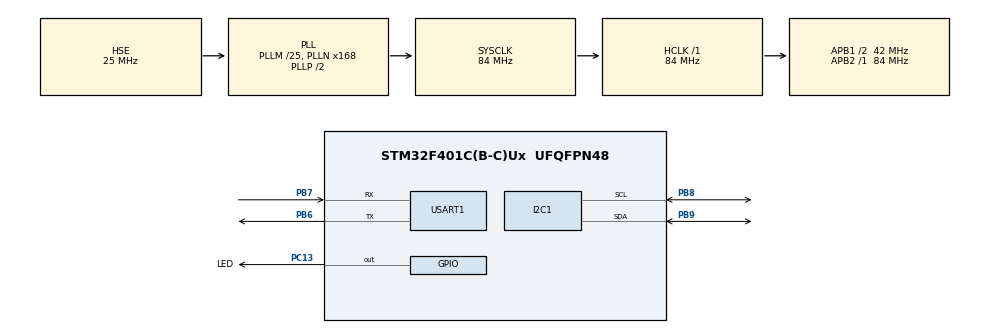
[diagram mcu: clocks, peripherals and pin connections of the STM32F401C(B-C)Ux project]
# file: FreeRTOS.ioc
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FREERTOS.Mutexes01=muxTextBuf,Dynamic,NULL;muxBaro,Dynamic,NULL
FREERTOS.Tasks01=taskBTempProd,24,256,StarTaskBTempProd,Default,NULL,Dynamic,NULL,NULL;taskBPresProd,8,256,StartTaskBPresProd,Default,NULL,Dynamic,NULL,NULL;taskUARTCons,8,256,StartTaskUARTCons,Default,NULL,Dynamic,NULL,NULL
FREERTOS.configTICK_RATE_HZ=1000
FREERTOS.configUSE_NEWLIB_REENTRANT=1
I2C1.I2C_Mode=I2C_Standard
Mcu.Family=STM32F4
Mcu.Name=STM32F401C(B-C)Ux
Mcu.Package=UFQFPN48
NVIC.PriorityGroup=NVIC_PRIORITYGROUP_4
PB6.Mode=Asynchronous
PB6.Signal=USART1_TX
PB7.Mode=Asynchronous
PB7.Signal=USART1_RX
PB8.GPIO_Pu=GPIO_PULLUP
PB8.Mode=I2C
PB8.Signal=I2C1_SCL
PB9.GPIO_Pu=GPIO_PULLUP
PB9.Mode=I2C
PB9.Signal=I2C1_SDA
PC13-ANTI_TAMP.GPIO_Label=LED
PC13-ANTI_TAMP.Signal=GPIO_Output
PH0\ -\ OSC_IN.Mode=HSE-External-Oscillator
PH0\ -\ OSC_IN.Signal=RCC_OSC_IN
PH1\ -\ OSC_OUT.Mode=HSE-External-Oscillator
PH1\ -\ OSC_OUT.Signal=RCC_OSC_OUT
ProjectManager.HeapSize=0x200
ProjectManager.StackSize=0x400
ProjectManager.TargetToolchain=STM32CubeIDE
RCC.48MHZClocksFreq_Value=42000000
RCC.AHBFreq_Value=84000000
RCC.APB1CLKDivider=RCC_HCLK_DIV2
RCC.APB1Freq_Value=42000000
RCC.APB1TimFreq_Value=84000000
RCC.APB2Freq_Value=84000000
RCC.APB2TimFreq_Value=84000000
RCC.CortexFreq_Value=84000000
RCC.HCLKFreq_Value=84000000
RCC.HSE_VALUE=25000000
RCC.HSI_VALUE=16000000
RCC.LSE_VALUE=32768
RCC.PLLM=25
RCC.PLLN=168
RCC.PLLSourceVirtual=RCC_PLLSOURCE_HSE
RCC.SYSCLKFreq_VALUE=84000000
RCC.SYSCLKSource=RCC_SYSCLKSOURCE_PLLCLK
RCC.VCOOutputFreq_Value=168000000
USART1.VirtualMode=VM_ASYNC
VP_FREERTOS_VS_CMSIS_V2.Mode=CMSIS_V2
board=custom

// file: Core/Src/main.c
/* USER CODE BEGIN Header */
/**
  ******************************************************************************
  * @file           : main.c
  * @brief          : Main program body
  ******************************************************************************
  * @attention
  *
  * Copyright (c) 2022 STMicroelectronics.
  * All rights reserved.
  *
  * This software is licensed under terms that can be found in the LICENSE file
  * in the root directory of this software component.
  * If no LICENSE file comes with this software, it is provided AS-IS.
  *
  ******************************************************************************
  */
/* USER CODE END Header */
#include "main.h"
#include "cmsis_os.h"

/* USER CODE BEGIN Includes */
#include <stdio.h>
#include <string.h>
#include <malloc.h>
#include "queue.h"
#include "baro.h"

/* USER CODE END Includes */

/* USER CODE BEGIN PD */
#define DATA_QLEN 8

/* USER CODE END PD */

/* USER CODE BEGIN PM */
#define countof(_a) (sizeof(_a) / sizeof(_a[0]))

/* USER CODE END PM */

I2C_HandleTypeDef hi2c1;

UART_HandleTypeDef huart1;

/* Definitions for taskBTempProd */
osThreadId_t taskBTempProdHandle;
const osThreadAttr_t taskBTempProd_attributes = {
  .name = "taskBTempProd",
  .stack_size = 256 * 4,
  .priority = (osPriority_t) osPriorityNormal,
};
/* Definitions for taskBPresProd */
osThreadId_t taskBPresProdHandle;
const osThreadAttr_t taskBPresProd_attributes = {
  .name = "taskBPresProd",
  .stack_size = 256 * 4,
  .priority = (osPriority_t) osPriorityLow,
};
/* Definitions for taskUARTCons */
osThreadId_t taskUARTConsHandle;
const osThreadAttr_t taskUARTCons_attributes = {
  .name = "taskUARTCons",
  .stack_size = 256 * 4,
  .priority = (osPriority_t) osPriorityLow,
};
/* Definitions for muxTextBuf */
osMutexId_t muxTextBufHandle;
const osMutexAttr_t muxTextBuf_attributes = {
  .name = "muxTextBuf"
};
/* Definitions for muxBaro */
osMutexId_t muxBaroHandle;
const osMutexAttr_t muxBaro_attributes = {
  .name = "muxBaro"
};
/* USER CODE BEGIN PV */
static QueueHandle_t data_queue;

static char text[100];

/* USER CODE END PV */

void SystemClock_Config(void);
static void MX_GPIO_Init(void);
static void MX_USART1_UART_Init(void);
static void MX_I2C1_Init(void);
void StarTaskBTempProd(void *argument);
void StartTaskBPresProd(void *argument);
void StartTaskUARTCons(void *argument);

int main(void)
{

  /* MCU Configuration--------------------------------------------------------*/

  /* Reset of all peripherals, Initializes the Flash interface and the Systick. */
  HAL_Init();

  /* Configure the system clock */
  SystemClock_Config();

  /* Initialize all configured peripherals */
  MX_GPIO_Init();
  MX_USART1_UART_Init();
  MX_I2C1_Init();
  /* USER CODE BEGIN 2 */

  if (baro_init() != BARO_OK) {
	  snprintf(text, countof(text), "Baro init Error.\n");
	  HAL_UART_Transmit(&huart1, (uint8_t*)text, strnlen(text, countof(text)), HAL_MAX_DELAY);
	  vTaskSuspend(taskBTempProdHandle);
	  vTaskSuspend(taskBPresProdHandle);
  }

  /* USER CODE END 2 */

  /* Init scheduler */
  osKernelInitialize();
  /* Create the mutex(es) */
  /* creation of muxTextBuf */
  muxTextBufHandle = osMutexNew(&muxTextBuf_attributes);

  /* creation of muxBaro */
  muxBaroHandle = osMutexNew(&muxBaro_attributes);

  /* USER CODE BEGIN RTOS_QUEUES */
  data_queue = xQueueCreate(DATA_QLEN, sizeof(uint8_t*));

  if (!data_queue) {
	  while(1) {};
  }
  /* USER CODE END RTOS_QUEUES */

  /* Create the thread(s) */
  /* creation of taskBTempProd */
  taskBTempProdHandle = osThreadNew(StarTaskBTempProd, NULL, &taskBTempProd_attributes);

  /* creation of taskBPresProd */
  taskBPresProdHandle = osThreadNew(StartTaskBPresProd, NULL, &taskBPresProd_attributes);

  /* creation of taskUARTCons */
  taskUARTConsHandle = osThreadNew(StartTaskUARTCons, NULL, &taskUARTCons_attributes);

  /* Start scheduler */
  osKernelStart();

  /* We should never get here as control is now taken by the scheduler */
  /* Infinite loop */
  while (1)
  {

  }
}

void SystemClock_Config(void)
{
  RCC_OscInitTypeDef RCC_OscInitStruct = {0};
  RCC_ClkInitTypeDef RCC_ClkInitStruct = {0};

  /** Configure the main internal regulator output voltage
  */
  __HAL_RCC_PWR_CLK_ENABLE();
  __HAL_PWR_VOLTAGESCALING_CONFIG(PWR_REGULATOR_VOLTAGE_SCALE2);

  /** Initializes the RCC Oscillators according to the specified parameters
  * in the RCC_OscInitTypeDef structure.
  */
  RCC_OscInitStruct.OscillatorType = RCC_OSCILLATORTYPE_HSE;
  RCC_OscInitStruct.HSEState = RCC_HSE_ON;
  RCC_OscInitStruct.PLL.PLLState = RCC_PLL_ON;
  RCC_OscInitStruct.PLL.PLLSource = RCC_PLLSOURCE_HSE;
  RCC_OscInitStruct.PLL.PLLM = 25;
  RCC_OscInitStruct.PLL.PLLN = 168;
  RCC_OscInitStruct.PLL.PLLP = RCC_PLLP_DIV2;
  RCC_OscInitStruct.PLL.PLLQ = 4;
  if (HAL_RCC_OscConfig(&RCC_OscInitStruct) != HAL_OK)
  {
    Error_Handler();
  }

  /** Initializes the CPU, AHB and APB buses clocks
  */
  RCC_ClkInitStruct.ClockType = RCC_CLOCKTYPE_HCLK|RCC_CLOCKTYPE_SYSCLK
                              |RCC_CLOCKTYPE_PCLK1|RCC_CLOCKTYPE_PCLK2;
  RCC_ClkInitStruct.SYSCLKSource = RCC_SYSCLKSOURCE_PLLCLK;
  RCC_ClkInitStruct.AHBCLKDivider = RCC_SYSCLK_DIV1;
  RCC_ClkInitStruct.APB1CLKDivider = RCC_HCLK_DIV2;
  RCC_ClkInitStruct.APB2CLKDivider = RCC_HCLK_DIV1;

  if (HAL_RCC_ClockConfig(&RCC_ClkInitStruct, FLASH_LATENCY_2) != HAL_OK)
  {
    Error_Handler();
  }
}

static void MX_I2C1_Init(void)
{

  hi2c1.Instance = I2C1;
  hi2c1.Init.ClockSpeed = 100000;
  hi2c1.Init.DutyCycle = I2C_DUTYCYCLE_2;
  hi2c1.Init.OwnAddress1 = 0;
  hi2c1.Init.AddressingMode = I2C_ADDRESSINGMODE_7BIT;
  hi2c1.Init.DualAddressMode = I2C_DUALADDRESS_DISABLE;
  hi2c1.Init.OwnAddress2 = 0;
  hi2c1.Init.GeneralCallMode = I2C_GENERALCALL_DISABLE;
  hi2c1.Init.NoStretchMode = I2C_NOSTRETCH_DISABLE;
  if (HAL_I2C_Init(&hi2c1) != HAL_OK)
  {
    Error_Handler();
  }

}

static void MX_USART1_UART_Init(void)
{

  huart1.Instance = USART1;
  huart1.Init.BaudRate = 115200;
  huart1.Init.WordLength = UART_WORDLENGTH_8B;
  huart1.Init.StopBits = UART_STOPBITS_1;
  huart1.Init.Parity = UART_PARITY_NONE;
  huart1.Init.Mode = UART_MODE_TX_RX;
  huart1.Init.HwFlowCtl = UART_HWCONTROL_NONE;
  huart1.Init.OverSampling = UART_OVERSAMPLING_16;
  if (HAL_UART_Init(&huart1) != HAL_OK)
  {
    Error_Handler();
  }

}

static void MX_GPIO_Init(void)
{
  GPIO_InitTypeDef GPIO_InitStruct = {0};

  /* GPIO Ports Clock Enable */
  __HAL_RCC_GPIOC_CLK_ENABLE();
  __HAL_RCC_GPIOH_CLK_ENABLE();
  __HAL_RCC_GPIOB_CLK_ENABLE();

  /*Configure GPIO pin Output Level */
  HAL_GPIO_WritePin(LED_GPIO_Port, LED_Pin, GPIO_PIN_RESET);

  /*Configure GPIO pin : LED_Pin */
  GPIO_InitStruct.Pin = LED_Pin;
  GPIO_InitStruct.Mode = GPIO_MODE_OUTPUT_PP;
  GPIO_InitStruct.Pull = GPIO_NOPULL;
  GPIO_InitStruct.Speed = GPIO_SPEED_FREQ_LOW;
  HAL_GPIO_Init(LED_GPIO_Port, &GPIO_InitStruct);

}

void StarTaskBTempProd(void *argument)
{
  /* USER CODE BEGIN 5 */
  /* Infinite loop */
  for(;;)
  {
	  osMutexAcquire(muxBaroHandle, osWaitForever);
	  int32_t temp = baro_read_temp();
	  osMutexRelease(muxBaroHandle);
	  xTaskNotify(taskBPresProdHandle, 0, eNoAction);

	  osMutexAcquire(muxTextBufHandle, osWaitForever);
	  if (temp == INT32_MAX ) {
		  snprintf(text, countof(text), "Baro readout Error.\n");
		  // suspend task ?
	  } else {
		  snprintf(text, countof(text), "/*Temp,%ld.%02ld*/\n", temp / 100, temp % 100);
	  }

	  // use static massages with some cycled buffer ?
	  char *data = strndup(text, countof(text));
	  osMutexRelease(muxTextBufHandle);

	  xQueueSend(data_queue, &data, osWaitForever); /* can be done as non blocking */
	  osDelay(pdMS_TO_TICKS(50));
  }
  /* USER CODE END 5 */
}

void StartTaskBPresProd(void *argument)
{
  /* USER CODE BEGIN StartTaskBPresProd */
  /* Infinite loop */
  for(;;)
  {
	  xTaskNotifyWait(0, 0, NULL, osWaitForever);
	  /* NOTE: as there are only 2 tasks that uses barometer API,				*
	   *  it is possible to get rid of muxBaro mutex							*/
	  osMutexAcquire(muxBaroHandle, osWaitForever);
	  uint32_t pres = baro_read_press();
	  osMutexRelease(muxBaroHandle);

	  osMutexAcquire(muxTextBufHandle, osWaitForever);
	  if (pres == UINT32_MAX) {
		  snprintf(text, countof(text), "Baro readout Error.\n");
		  // suspend task ?
	  } else {
		  snprintf(text, countof(text), "/*Press,%ld.%02ld*/\n", pres / 100, pres % 100);
	  }

	  char *data = strndup(text, countof(text));
	  osMutexRelease(muxTextBufHandle);

	  xQueueSend(data_queue, &data, osWaitForever); /* can be done as non blocking */
	  osDelay(pdMS_TO_TICKS(100));
  }
  /* USER CODE END StartTaskBPresProd */
}

void StartTaskUARTCons(void *argument)
{
  /* USER CODE BEGIN StartTaskUARTCons */
  /* Infinite loop */
  for(;;)
  {
	  uint8_t *data = 0;
	  xQueueReceive(data_queue, &data, 0);
	  /* can be protected with mutex if multiple tasks use UART_Transmit */
	  HAL_UART_Transmit(&huart1, data, strlen((char*)data), HAL_MAX_DELAY);
	  free(data);

	  /* any delay to avoid spamming on port */
	  osDelay(pdMS_TO_TICKS(10));
  }
  /* USER CODE END StartTaskUARTCons */
}

void Error_Handler(void)
{
  __disable_irq();
  while (1)
  {
  }
}
